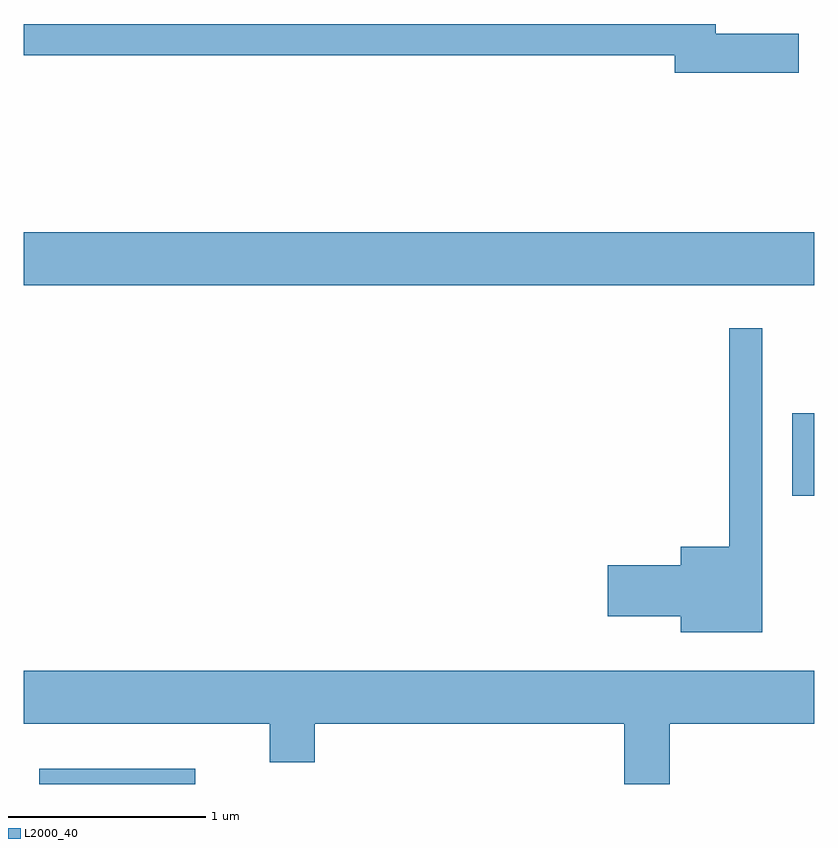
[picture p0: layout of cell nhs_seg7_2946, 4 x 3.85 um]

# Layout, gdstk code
import gdstk
lib = gdstk.Library(unit=1e-6, precision=1e-09)
def R(c, l, rs):  # rectangles x0, y0, x1, y1
    for r in rs: c.add(gdstk.rectangle(r[:2], r[2:], *l))
def P(c, l, *ps):  # polygons
    for p in ps: c.add(gdstk.Polygon(p, *l))
L2000_40 = (2000, 40)

nhs_seg7_2946 = lib.new_cell('nhs_seg7_2946')
R(nhs_seg7_2946, L2000_40, [(275.688,1696.252,276.479,1696.329), (279.501,1697.711,279.611,1698.129), (275.611,1698.776,279.611,1699.044)])
P(nhs_seg7_2946, L2000_40, [(279.534,1700.049),(279.114,1700.049),(279.114,1700.099),(275.611,1700.099),(275.611,1699.941),(278.906,1699.941),(278.906,1699.851),(279.534,1699.851)],
  [(279.349,1698.558),(279.181,1698.558),(279.181,1697.454),(278.936,1697.454),(278.936,1697.359),(278.566,1697.359),(278.566,1697.101),(278.936,1697.101),(278.936,1697.021),(279.349,1697.021)],
  [(278.879,1696.556),(279.611,1696.556),(279.611,1696.824),(275.611,1696.824),(275.611,1696.556),(276.856,1696.556),(276.856,1696.361),(277.084,1696.361),(277.084,1696.556),(278.651,1696.556),(278.651,1696.252),(278.879,1696.252)])

lib.write_gds('nhs_seg7_2946.gds')
